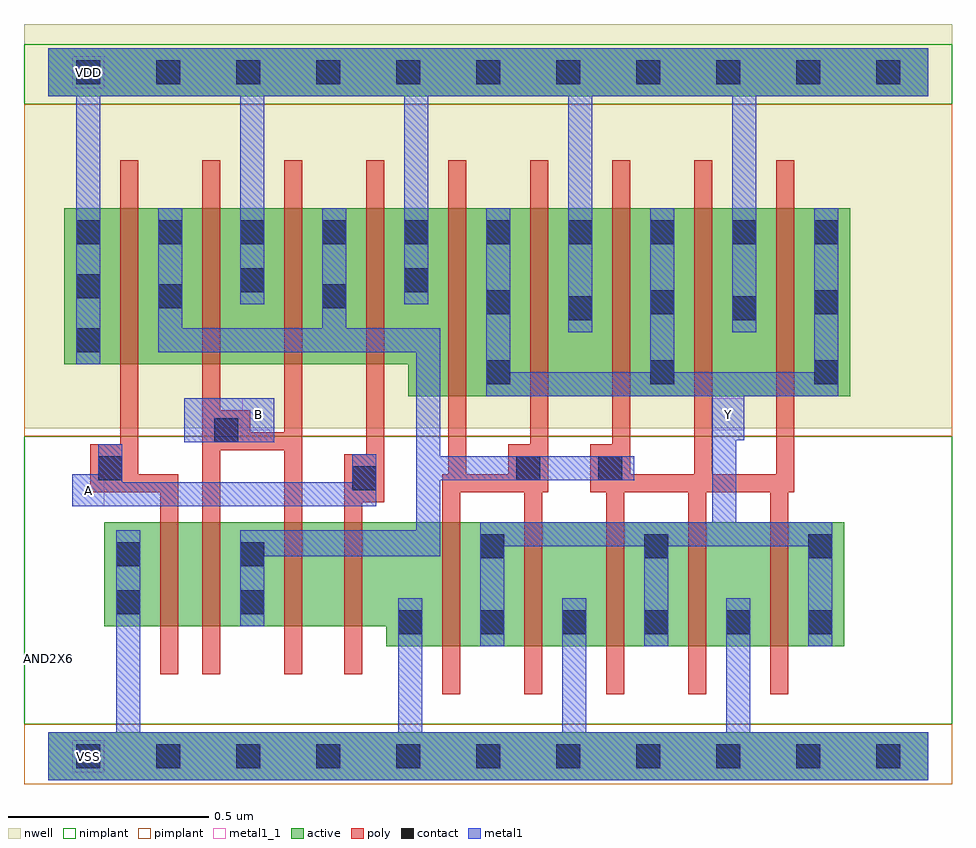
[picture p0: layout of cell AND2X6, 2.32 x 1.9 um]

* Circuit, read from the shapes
.subckt AND2X6 A B VDD VSS Y
M1 n1 A VSS VSS nfet w=0.26u l=0.045u
M2 n2 B n1 VSS nfet w=0.26u l=0.045u
M3 n3 B n2 VSS nfet w=0.26u l=0.045u
M4 VSS A n3 VSS nfet w=0.26u l=0.045u
M5 Y n2 VSS VSS nfet w=0.31u l=0.045u m=5
M6 n2 A VDD VDD pfet w=0.39u l=0.045u m=2
M7 VDD B n2 VDD pfet w=0.39u l=0.045u m=2
M8 Y n2 VDD VDD pfet w=0.47u l=0.045u m=5
.ends

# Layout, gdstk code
import gdstk
lib = gdstk.Library(unit=1e-6, precision=5e-10)
def R(c, l, rs):  # rectangles x0, y0, x1, y1
    for r in rs: c.add(gdstk.rectangle(r[:2], r[2:], *l))
def A(c, l, x, y, w, h, nx, ny, dx, dy):  # array of equal rectangles
    R(c, l, [(x+i*dx, y+j*dy, x+i*dx+w, y+j*dy+h) for i in range(nx) for j in range(ny)])
def P(c, l, *ps):  # polygons
    for p in ps: c.add(gdstk.Polygon(p, *l))
active = (1, 0)
nwell = (2, 0)
poly = (3, 0)
nimplant = (4, 0)
pimplant = (5, 0)
contact = (6, 0)
metal1 = (7, 0)
metal1_1 = (7, 1)

and2x6 = lib.new_cell('AND2X6')
R(and2x6, active, [(0,-0.06,2.2,0.06), (0,1.65,2.2,1.77)])
P(and2x6, active, [(0.04,1.37),(2.005,1.37),(2.005,0.9),(0.9,0.9),(0.9,0.98),(0.04,0.98)],
  [(0.14,0.585),(1.99,0.585),(1.99,0.275),(0.845,0.275),(0.845,0.325),(0.14,0.325)])
R(and2x6, nwell, [(-0.06,0.82,2.26,1.83)])
P(and2x6, poly, [(0.18,1.49),(0.225,1.49),(0.225,0.705),(0.325,0.705),(0.325,0.205),(0.28,0.205),(0.28,0.66),(0.105,0.66),(0.105,0.78),(0.18,0.78)],
  [(0.385,1.49),(0.43,1.49),(0.43,0.865),(0.505,0.865),(0.505,0.81),(0.59,0.81),(0.59,1.49),(0.635,1.49),(0.635,0.205),(0.59,0.205),(0.59,0.765),(0.43,0.765),(0.43,0.205),(0.385,0.205)],
  [(0.795,1.49),(0.84,1.49),(0.84,0.635),(0.785,0.635),(0.785,0.205),(0.74,0.205),(0.74,0.755),(0.795,0.755)],
  [(1,1.49),(1.045,1.49),(1.045,0.705),(1.15,0.705),(1.15,0.78),(1.205,0.78),(1.205,1.49),(1.25,1.49),(1.25,0.66),(1.235,0.66),(1.235,0.155),(1.19,0.155),(1.19,0.66),(1.03,0.66),(1.03,0.155),(0.985,0.155),(0.985,0.705),(1,0.705)],
  [(1.41,1.49),(1.455,1.49),(1.455,0.705),(1.615,0.705),(1.615,1.49),(1.66,1.49),(1.66,0.705),(1.82,0.705),(1.82,1.49),(1.865,1.49),(1.865,0.66),(1.85,0.66),(1.85,0.155),(1.805,0.155),(1.805,0.66),(1.645,0.66),(1.645,0.155),(1.6,0.155),(1.6,0.66),(1.44,0.66),(1.44,0.155),(1.395,0.155),(1.395,0.66),(1.355,0.66),(1.355,0.78),(1.41,0.78)])
R(and2x6, nimplant, [(-0.06,0.08,2.26,0.8), (-0.06,1.63,2.26,1.78)])
R(and2x6, pimplant, [(-0.06,-0.07,2.26,0.08), (-0.06,0.8,2.26,1.63)])
A(and2x6, contact, 0.07, -0.03, 0.06, 0.06, 11, 2, 0.2, 1.71)
A(and2x6, contact, 0.875, 0.305, 0.06, 0.06, 6, 1, 0.205, 0)
A(and2x6, contact, 1.08, 0.495, 0.06, 0.06, 3, 1, 0.41, 0)
A(and2x6, contact, 1.095, 0.93, 0.06, 0.06, 3, 2, 0.41, 0.175)
A(and2x6, contact, 0.07, 1.28, 0.06, 0.06, 10, 1, 0.205, 0)
R(and2x6, contact, [(0.17,0.355,0.23,0.415), (0.48,0.355,0.54,0.415), (0.17,0.475,0.23,0.535), (0.48,0.475,0.54,0.535), (0.76,0.665,0.82,0.725), (0.125,0.69,0.185,0.75), (1.17,0.69,1.23,0.75), (1.375,0.69,1.435,0.75), (0.415,0.785,0.475,0.845), (0.07,1.01,0.13,1.07), (1.3,1.09,1.36,1.15), (1.71,1.09,1.77,1.15), (0.275,1.12,0.335,1.18), (0.685,1.12,0.745,1.18), (0.07,1.145,0.13,1.205), (0.48,1.16,0.54,1.22), (0.89,1.16,0.95,1.22)])
R(and2x6, metal1, [(0.34,0.785,0.565,0.895)])
P(and2x6, metal1, [(2.2,0.06),(1.755,0.06),(1.755,0.395),(1.695,0.395),(1.695,0.06),(1.345,0.06),(1.345,0.395),(1.285,0.395),(1.285,0.06),(0.935,0.06),(0.935,0.395),(0.875,0.395),(0.875,0.06),(0.23,0.06),(0.23,0.565),(0.17,0.565),(0.17,0.06),(0,0.06),(0,-0.06),(2.2,-0.06)],
  [(2.2,1.77),(0,1.77),(0,1.65),(0.07,1.65),(0.07,0.98),(0.13,0.98),(0.13,1.65),(0.48,1.65),(0.48,1.13),(0.54,1.13),(0.54,1.65),(0.89,1.65),(0.89,1.13),(0.95,1.13),(0.95,1.65),(1.3,1.65),(1.3,1.06),(1.36,1.06),(1.36,1.65),(1.71,1.65),(1.71,1.06),(1.77,1.06),(1.77,1.65),(2.2,1.65)],
  [(1.975,1.37),(1.915,1.37),(1.915,0.96),(1.565,0.96),(1.565,1.37),(1.505,1.37),(1.505,0.96),(1.155,0.96),(1.155,1.37),(1.095,1.37),(1.095,0.9),(1.66,0.9),(1.66,0.585),(1.08,0.585),(1.08,0.275),(1.14,0.275),(1.14,0.525),(1.49,0.525),(1.49,0.275),(1.55,0.275),(1.55,0.525),(1.9,0.525),(1.9,0.275),(1.96,0.275),(1.96,0.585),(1.72,0.585),(1.72,0.79),(1.74,0.79),(1.74,0.9),(1.975,0.9)],
  [(1.465,0.75),(0.98,0.75),(0.98,1.07),(0.745,1.07),(0.745,1.37),(0.685,1.37),(0.685,1.07),(0.335,1.07),(0.335,1.37),(0.275,1.37),(0.275,1.01),(0.92,1.01),(0.92,0.565),(0.48,0.565),(0.48,0.325),(0.54,0.325),(0.54,0.5),(0.98,0.5),(0.98,0.69),(1.465,0.69)],
  [(0.82,0.755),(0.76,0.755),(0.76,0.685),(0.185,0.685),(0.185,0.78),(0.125,0.78),(0.125,0.705),(0.06,0.705),(0.06,0.625),(0.82,0.625)])
R(and2x6, metal1_1, [(0.06,-0.04,0.14,0.04), (0.06,0.625,0.14,0.705), (0.485,0.815,0.565,0.895), (1.66,0.815,1.74,0.895), (0.06,1.67,0.14,1.75)])
and2x6.add(gdstk.Label('VSS', (0.1,0), layer=7, texttype=1))
and2x6.add(gdstk.Label('Y', (1.7,0.855), layer=7, texttype=1))
and2x6.add(gdstk.Label('B', (0.525,0.855), layer=7, texttype=1))
and2x6.add(gdstk.Label('A', (0.1,0.665), layer=7, texttype=1))
and2x6.add(gdstk.Label('VDD', (0.1,1.71), layer=7, texttype=1))
and2x6.add(gdstk.Label('AND2X6', (0,0.245), layer=63, texttype=0))

lib.write_gds('AND2X6.gds')
